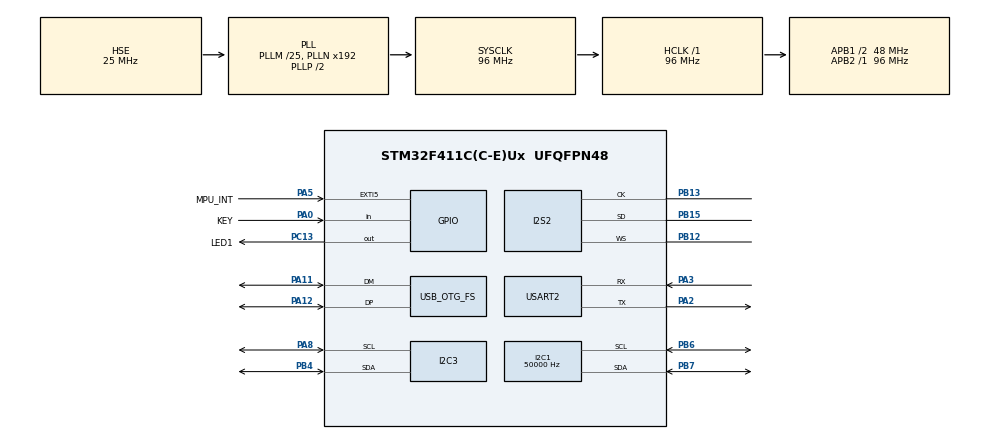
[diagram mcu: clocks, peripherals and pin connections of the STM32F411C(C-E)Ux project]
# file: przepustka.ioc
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ADC1.Channel-0\#ChannelRegularConversion=ADC_CHANNEL_TEMPSENSOR
ADC1.NbrOfConversionFlag=1
ADC1.Rank-0\#ChannelRegularConversion=1
ADC1.SamplingTime-0\#ChannelRegularConversion=ADC_SAMPLETIME_3CYCLES
ADC1.master=1
Dma.I2C3_TX.0.Direction=DMA_MEMORY_TO_PERIPH
Dma.I2C3_TX.0.FIFOMode=DMA_FIFOMODE_DISABLE
Dma.I2C3_TX.0.Instance=DMA1_Stream5
Dma.I2C3_TX.0.MemDataAlignment=DMA_MDATAALIGN_BYTE
Dma.I2C3_TX.0.MemInc=DMA_MINC_ENABLE
Dma.I2C3_TX.0.Mode=DMA_NORMAL
Dma.I2C3_TX.0.PeriphDataAlignment=DMA_PDATAALIGN_BYTE
Dma.I2C3_TX.0.PeriphInc=DMA_PINC_DISABLE
Dma.I2C3_TX.0.Priority=DMA_PRIORITY_LOW
Dma.Request0=I2C3_TX
Dma.Request1=SPI2_RX
Dma.SPI2_RX.1.Direction=DMA_PERIPH_TO_MEMORY
Dma.SPI2_RX.1.FIFOMode=DMA_FIFOMODE_DISABLE
Dma.SPI2_RX.1.Instance=DMA1_Stream3
Dma.SPI2_RX.1.MemDataAlignment=DMA_MDATAALIGN_HALFWORD
Dma.SPI2_RX.1.MemInc=DMA_MINC_ENABLE
Dma.SPI2_RX.1.Mode=DMA_CIRCULAR
Dma.SPI2_RX.1.PeriphDataAlignment=DMA_PDATAALIGN_HALFWORD
Dma.SPI2_RX.1.PeriphInc=DMA_PINC_DISABLE
Dma.SPI2_RX.1.Priority=DMA_PRIORITY_VERY_HIGH
I2C1.ClockSpeed=50000
I2C1.I2C_Mode=I2C_Standard
I2C3.I2C_Mode=I2C_Fast
I2S2.AudioFreq=I2S_AUDIOFREQ_96K
I2S2.DataFormat=I2S_DATAFORMAT_24B
I2S2.ErrorAudioFreq=1.72 %
I2S2.FullDuplexMode=I2S_FULLDUPLEXMODE_DISABLE
I2S2.Instance=SPI$Index
I2S2.Mode=I2S_MODE_MASTER_RX
I2S2.RealAudioFreq=97.656 KHz
I2S2.Standard=I2S_STANDARD_PHILIPS
I2S2.VirtualMode=I2S_MODE_MASTER
Mcu.Family=STM32F4
Mcu.Name=STM32F411C(C-E)Ux
Mcu.Package=UFQFPN48
NVIC.DMA1_Stream3_IRQn=true\:0\:0\:false\:false\:true\:false\:true
NVIC.DMA1_Stream5_IRQn=true\:5\:0\:true\:true\:true\:2\:false\:true
NVIC.EXTI9_5_IRQn=true\:0\:0\:false\:false\:true\:true\:true
NVIC.I2C1_ER_IRQn=true\:0\:0\:false\:false\:true\:true\:true
NVIC.I2C1_EV_IRQn=true\:0\:0\:false\:false\:true\:true\:true
NVIC.I2C3_EV_IRQn=true\:12\:0\:true\:true\:true\:1\:true\:true
NVIC.OTG_FS_IRQn=true\:0\:0\:false\:false\:true\:false\:true
NVIC.PriorityGroup=NVIC_PRIORITYGROUP_4
NVIC.SPI2_IRQn=true\:0\:0\:false\:true\:true\:4\:true\:true
NVIC.TIM2_IRQn=true\:11\:0\:true\:true\:true\:3\:true\:true
PA0-WKUP.GPIO_Label=KEY
PA0-WKUP.GPIO_PuPd=GPIO_PULLUP
PA0-WKUP.Signal=GPIO_Input
PA11.Mode=Device_Only
PA11.Signal=USB_OTG_FS_DM
PA12.Mode=Device_Only
PA12.Signal=USB_OTG_FS_DP
PA13.Mode=Serial_Wire
PA13.Signal=SYS_JTMS-SWDIO
PA14.Mode=Serial_Wire
PA14.Signal=SYS_JTCK-SWCLK
PA2.Mode=Asynchronous
PA2.Signal=USART2_TX
PA3.Mode=Asynchronous
PA3.Signal=USART2_RX
PA5.GPIO_Label=MPU_INT
PA5.GPIO_ModeDefaultEXTI=GPIO_MODE_IT_FALLING
PA5.GPIO_PuPd=GPIO_PULLUP
PA5.Signal=GPXTI5
PA8.Mode=I2C
PA8.Signal=I2C3_SCL
PB12.Mode=Half_Duplex_Master
PB12.Signal=I2S2_WS
PB13.Mode=Half_Duplex_Master
PB13.Signal=I2S2_CK
PB15.Mode=Half_Duplex_Master
PB15.Signal=I2S2_SD
PB4.Mode=I2C
PB4.Signal=I2C3_SDA
PB6.GPIO_Pu=GPIO_NOPULL
PB6.Mode=I2C
PB6.Signal=I2C1_SCL
PB7.GPIO_Pu=GPIO_NOPULL
PB7.Mode=I2C
PB7.Signal=I2C1_SDA
PC13-ANTI_TAMP.GPIO_Label=LED1
PC13-ANTI_TAMP.GPIO_ModeDefaultOutputPP=GPIO_MODE_OUTPUT_PP
PC13-ANTI_TAMP.GPIO_PuPd=GPIO_PULLUP
PC13-ANTI_TAMP.GPIO_Speed=GPIO_SPEED_FREQ_LOW
PC13-ANTI_TAMP.PinState=GPIO_PIN_SET
PC13-ANTI_TAMP.Signal=GPIO_Output
PC14-OSC32_IN.Mode=LSE-External-Oscillator
PC14-OSC32_IN.Signal=RCC_OSC32_IN
PC15-OSC32_OUT.Mode=LSE-External-Oscillator
PC15-OSC32_OUT.Signal=RCC_OSC32_OUT
PH0\ -\ OSC_IN.Mode=HSE-External-Oscillator
PH0\ -\ OSC_IN.Signal=RCC_OSC_IN
PH1\ -\ OSC_OUT.Mode=HSE-External-Oscillator
PH1\ -\ OSC_OUT.Signal=RCC_OSC_OUT
ProjectManager.HeapSize=0x200
ProjectManager.StackSize=0x400
ProjectManager.TargetToolchain=STM32CubeIDE
RCC.48MHZClocksFreq_Value=48000000
RCC.AHBFreq_Value=96000000
RCC.APB1CLKDivider=RCC_HCLK_DIV2
RCC.APB1Freq_Value=48000000
RCC.APB1TimFreq_Value=96000000
RCC.APB2Freq_Value=96000000
RCC.APB2TimFreq_Value=96000000
RCC.CortexFreq_Value=96000000
RCC.HCLKFreq_Value=96000000
RCC.HSE_VALUE=25000000
RCC.HSI_VALUE=16000000
RCC.PLLM=25
RCC.SYSCLKFreq_VALUE=96000000
RCC.SYSCLKSource=RCC_SYSCLKSOURCE_PLLCLK
RCC.VCOOutputFreq_Value=192000000
TIM2.AutoReloadPreload=TIM_AUTORELOAD_PRELOAD_ENABLE
TIM2.CounterMode=TIM_COUNTERMODE_DOWN
TIM2.Period=1000
TIM2.Prescaler=9600
TIM2.TIM_MasterOutputTrigger=TIM_TRGO_UPDATE
USART2.VirtualMode=VM_ASYNC
USB_DEVICE.CLASS_NAME_FS=CDC
USB_DEVICE.PRODUCT_STRING_CDC_FS=Przepustka
USB_DEVICE.VirtualMode=Cdc
USB_DEVICE.VirtualModeFS=Cdc_FS
USB_OTG_FS.VirtualMode=Device_Only
USB_OTG_FS.lpm_enable=DISABLE
VP_ADC1_TempSens_Input.Mode=IN-TempSens
VP_TIM2_VS_ClockSourceINT.Mode=Internal
VP_USB_DEVICE_VS_USB_DEVICE_CDC_FS.Mode=CDC_FS
board=custom

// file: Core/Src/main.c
/* USER CODE BEGIN Header */
/**
  ******************************************************************************
  * @file           : main.c
  * @brief          : Main program body
  ******************************************************************************
  * @attention
  *
  * <h2><center>&copy; Copyright (c) 2021 STMicroelectronics.
  * All rights reserved.</center></h2>
  *
  * This software component is licensed by ST under BSD 3-Clause license,
  * the "License"; You may not use this file except in compliance with the
  * License. You may obtain a copy of the License at:
  *                        opensource.org/licenses/BSD-3-Clause
  *
  ******************************************************************************
  */
/* USER CODE END Header */
#include "main.h"
#include "usb_device.h"

/* USER CODE BEGIN Includes */
#include "sht21.h"
#include "MPU6050.h"
#include "usbd_cdc_if.h"
#include "ssd1306.h"
#include "arm_math.h"
#include "math.h"
/* USER CODE END Includes */

/* USER CODE BEGIN PD */
#define SHT21_ADDRESS 	0b1000000
#define MPU6050_ADDRESS 0b1101000
#define FFT_SAMPLES		1024

/* USER CODE END PD */

ADC_HandleTypeDef hadc1;

I2C_HandleTypeDef hi2c1;
I2C_HandleTypeDef hi2c3;
DMA_HandleTypeDef hdma_i2c3_tx;

I2S_HandleTypeDef hi2s2;
DMA_HandleTypeDef hdma_spi2_rx;

TIM_HandleTypeDef htim2;

UART_HandleTypeDef huart2;

/* USER CODE BEGIN PV */
int Freqs[FFT_SAMPLES];
FFTInBuffer[FFT_SAMPLES];
FFTOutBuffer[FFT_SAMPLES];
//arm_rfft_fast_instance_f32 FFTHandler;
arm_rfft_fast_instance_f32	FFTHandler;
volatile uint8_t	SamplesReady;
uint8_t	OutFreqArray[10];

SHT21_t Sht21;
MPU6050_t Mpu6050;
double Ax,Ay,Az,Gx,Gy,Gz,Temperature_MPU;
SSD1306_t oled;
volatile uint16_t data_in[4096]={0};
uint32_t  time,time1,time2,time3,time4,time5,counter,counter2;
volatile int32_t audio1[1024],audio2;
uint8_t DataToSend[80]; // USB VCOM buffer
uint8_t MessageLength = 0; // USB VCOM data length
float temperature;
float humidity;
/* USER CODE END PV */

void SystemClock_Config(void);
static void MX_GPIO_Init(void);
static void MX_I2S2_Init(void);
static void MX_I2C1_Init(void);
static void MX_USART2_UART_Init(void);
static void MX_DMA_Init(void);
static void MX_I2C3_Init(void);
static void MX_TIM2_Init(void);
static void MX_ADC1_Init(void);
static void MX_NVIC_Init(void);
/* USER CODE BEGIN PFP */
void HAL_I2C_MemTxCpltCallback(I2C_HandleTypeDef *hi2c);
/* USER CODE END PFP */

int main(void)
{

  /* MCU Configuration--------------------------------------------------------*/

  /* Reset of all peripherals, Initializes the Flash interface and the Systick. */
  HAL_Init();

  /* Configure the system clock */
  SystemClock_Config();

  /* Initialize all configured peripherals */
  MX_GPIO_Init();
  MX_I2S2_Init();
  MX_I2C1_Init();
  MX_USB_DEVICE_Init();
  MX_USART2_UART_Init();
  MX_DMA_Init();
  MX_I2C3_Init();
  MX_TIM2_Init();
  MX_ADC1_Init();

  /* Initialize interrupts */
  MX_NVIC_Init();
  /* USER CODE BEGIN 2 */

  //HAL_I2S_Receive_DMA(&hi2s2, &data_in, 4);
  hi2c3.Init.ClockSpeed=800000;  			// OVERCLOCKING, code generator does not allow higher than 400kHz
  HAL_I2C_Init(&hi2c3);
  HAL_Delay(50);
  ssd1306_Init(&oled,&hi2c3,SSD1306_I2C_ADDR);
  MPU6050_Init(&Mpu6050,&hi2c1,MPU6050_ADDRESS);
  HAL_Delay(10);
  //SHT21_Init(&Sht21, &hi2c1, SHT21_ADDRESS);
  HAL_Delay(10);
  ssd1306_Fill(Black);
  HAL_DMA_Init(&hdma_spi2_rx);
  	  ssd1306_UpdateScreen(&oled);
  	 //HAL_I2S_Receive(&hi2s2, &data_in, 128,1000);
  	 HAL_I2S_Receive_DMA(&hi2s2, &data_in, 2048);

  	// HAL_TIM_Base_Start_IT(&htim2);

  	////////////////////////////////// TEMPORARY I2S SUPPORT
  	arm_rfft_fast_init_f32(&FFTHandler,1024);

  //	HAL_I2S_DMAResume(&hi2s2);
  	//////////////////////////////////////////////////////////
  /* USER CODE END 2 */

  /* Infinite loop */
  /* USER CODE BEGIN WHILE */
  while (1)
  { // HAL_I2S_Receive_IT(&hi2s2, data_in, 64);

	  if(SamplesReady==1)
	  { HAL_GPIO_TogglePin(LED1_GPIO_Port,LED1_Pin);
		  SamplesReady=0;
		  for(uint32_t i=0; i<FFT_SAMPLES*16;i++)
		  {
			  FFTInBuffer[i]=(float)audio1[i];
			 // FFTInBuffer[i]=(float)16000*sinf(0.23 *i);
		  }
		  CalculateFFT();
	  }
	  FullscreenFFT();
	 // HAL_Delay(300);
//	  HAL_ADC_GetValue(&hadc1);
//	  MPU6050_Read_Values(&Mpu6050);
//	  SHT21_Update_calculated_value(&Sht21);
//
//
//	  Ax=Mpu6050.Accel_raw_X/ 16384.0;
//	  Ay=Mpu6050.Accel_raw_Y/ 16384.0;
//	  Az=Mpu6050.Accel_raw_Z/ 16384.0;
//	  Gx=Mpu6050.Gyro_raw_X/ 131.0;
//	  Gy=Mpu6050.Gyro_raw_Y/ 131.0;
//	  Gz=Mpu6050.Gyro_raw_Z/ 131.0;
//	  Temperature_MPU= (float)((int16_t)Mpu6050.Temp / (float)340.0 + (float)36.53);

	 //TUTAJ RYSOWANIE EKRANU
	  //void SHT_MPU_Debug();

    /* USER CODE END WHILE */

  }
}

void SystemClock_Config(void)
{
  RCC_OscInitTypeDef RCC_OscInitStruct = {0};
  RCC_ClkInitTypeDef RCC_ClkInitStruct = {0};

  /** Configure the main internal regulator output voltage
  */
  __HAL_RCC_PWR_CLK_ENABLE();
  __HAL_PWR_VOLTAGESCALING_CONFIG(PWR_REGULATOR_VOLTAGE_SCALE1);
  /** Initializes the RCC Oscillators according to the specified parameters
  * in the RCC_OscInitTypeDef structure.
  */
  RCC_OscInitStruct.OscillatorType = RCC_OSCILLATORTYPE_HSE;
  RCC_OscInitStruct.HSEState = RCC_HSE_ON;
  RCC_OscInitStruct.PLL.PLLState = RCC_PLL_ON;
  RCC_OscInitStruct.PLL.PLLSource = RCC_PLLSOURCE_HSE;
  RCC_OscInitStruct.PLL.PLLM = 25;
  RCC_OscInitStruct.PLL.PLLN = 192;
  RCC_OscInitStruct.PLL.PLLP = RCC_PLLP_DIV2;
  RCC_OscInitStruct.PLL.PLLQ = 4;
  if (HAL_RCC_OscConfig(&RCC_OscInitStruct) != HAL_OK)
  {
    Error_Handler();
  }
  /** Initializes the CPU, AHB and APB buses clocks
  */
  RCC_ClkInitStruct.ClockType = RCC_CLOCKTYPE_HCLK|RCC_CLOCKTYPE_SYSCLK
                              |RCC_CLOCKTYPE_PCLK1|RCC_CLOCKTYPE_PCLK2;
  RCC_ClkInitStruct.SYSCLKSource = RCC_SYSCLKSOURCE_PLLCLK;
  RCC_ClkInitStruct.AHBCLKDivider = RCC_SYSCLK_DIV1;
  RCC_ClkInitStruct.APB1CLKDivider = RCC_HCLK_DIV2;
  RCC_ClkInitStruct.APB2CLKDivider = RCC_HCLK_DIV1;

  if (HAL_RCC_ClockConfig(&RCC_ClkInitStruct, FLASH_LATENCY_3) != HAL_OK)
  {
    Error_Handler();
  }
}

/**
  * @brief NVIC Configuration.
  * @retval None
  */
static void MX_NVIC_Init(void)
{
  /* I2C3_EV_IRQn interrupt configuration */
  HAL_NVIC_SetPriority(I2C3_EV_IRQn, 12, 0);
  HAL_NVIC_EnableIRQ(I2C3_EV_IRQn);
  /* DMA1_Stream5_IRQn interrupt configuration */
  HAL_NVIC_SetPriority(DMA1_Stream5_IRQn, 5, 0);
  HAL_NVIC_EnableIRQ(DMA1_Stream5_IRQn);
  /* TIM2_IRQn interrupt configuration */
  HAL_NVIC_SetPriority(TIM2_IRQn, 11, 0);
  HAL_NVIC_EnableIRQ(TIM2_IRQn);
  /* SPI2_IRQn interrupt configuration */
  HAL_NVIC_SetPriority(SPI2_IRQn, 0, 0);
  HAL_NVIC_EnableIRQ(SPI2_IRQn);
}

static void MX_ADC1_Init(void)
{

  ADC_ChannelConfTypeDef sConfig = {0};

  /** Configure the global features of the ADC (Clock, Resolution, Data Alignment and number of conversion)
  */
  hadc1.Instance = ADC1;
  hadc1.Init.ClockPrescaler = ADC_CLOCK_SYNC_PCLK_DIV4;
  hadc1.Init.Resolution = ADC_RESOLUTION_12B;
  hadc1.Init.ScanConvMode = DISABLE;
  hadc1.Init.ContinuousConvMode = DISABLE;
  hadc1.Init.DiscontinuousConvMode = DISABLE;
  hadc1.Init.ExternalTrigConvEdge = ADC_EXTERNALTRIGCONVEDGE_NONE;
  hadc1.Init.ExternalTrigConv = ADC_SOFTWARE_START;
  hadc1.Init.DataAlign = ADC_DATAALIGN_RIGHT;
  hadc1.Init.NbrOfConversion = 1;
  hadc1.Init.DMAContinuousRequests = DISABLE;
  hadc1.Init.EOCSelection = ADC_EOC_SINGLE_CONV;
  if (HAL_ADC_Init(&hadc1) != HAL_OK)
  {
    Error_Handler();
  }
  /** Configure for the selected ADC regular channel its corresponding rank in the sequencer and its sample time.
  */
  sConfig.Channel = ADC_CHANNEL_TEMPSENSOR;
  sConfig.Rank = 1;
  sConfig.SamplingTime = ADC_SAMPLETIME_3CYCLES;
  if (HAL_ADC_ConfigChannel(&hadc1, &sConfig) != HAL_OK)
  {
    Error_Handler();
  }

}

static void MX_I2C1_Init(void)
{

  hi2c1.Instance = I2C1;
  hi2c1.Init.ClockSpeed = 50000;
  hi2c1.Init.DutyCycle = I2C_DUTYCYCLE_2;
  hi2c1.Init.OwnAddress1 = 0;
  hi2c1.Init.AddressingMode = I2C_ADDRESSINGMODE_7BIT;
  hi2c1.Init.DualAddressMode = I2C_DUALADDRESS_DISABLE;
  hi2c1.Init.OwnAddress2 = 0;
  hi2c1.Init.GeneralCallMode = I2C_GENERALCALL_DISABLE;
  hi2c1.Init.NoStretchMode = I2C_NOSTRETCH_DISABLE;
  if (HAL_I2C_Init(&hi2c1) != HAL_OK)
  {
    Error_Handler();
  }

}

static void MX_I2C3_Init(void)
{

  hi2c3.Instance = I2C3;
  hi2c3.Init.ClockSpeed = 400000;
  hi2c3.Init.DutyCycle = I2C_DUTYCYCLE_2;
  hi2c3.Init.OwnAddress1 = 0;
  hi2c3.Init.AddressingMode = I2C_ADDRESSINGMODE_7BIT;
  hi2c3.Init.DualAddressMode = I2C_DUALADDRESS_DISABLE;
  hi2c3.Init.OwnAddress2 = 0;
  hi2c3.Init.GeneralCallMode = I2C_GENERALCALL_DISABLE;
  hi2c3.Init.NoStretchMode = I2C_NOSTRETCH_DISABLE;
  if (HAL_I2C_Init(&hi2c3) != HAL_OK)
  {
    Error_Handler();
  }

}

static void MX_I2S2_Init(void)
{

  hi2s2.Instance = SPI2;
  hi2s2.Init.Mode = I2S_MODE_MASTER_RX;
  hi2s2.Init.Standard = I2S_STANDARD_PHILIPS;
  hi2s2.Init.DataFormat = I2S_DATAFORMAT_24B;
  hi2s2.Init.MCLKOutput = I2S_MCLKOUTPUT_DISABLE;
  hi2s2.Init.AudioFreq = I2S_AUDIOFREQ_96K;
  hi2s2.Init.CPOL = I2S_CPOL_LOW;
  hi2s2.Init.ClockSource = I2S_CLOCK_PLL;
  hi2s2.Init.FullDuplexMode = I2S_FULLDUPLEXMODE_DISABLE;
  if (HAL_I2S_Init(&hi2s2) != HAL_OK)
  {
    Error_Handler();
  }

}

static void MX_TIM2_Init(void)
{

  TIM_ClockConfigTypeDef sClockSourceConfig = {0};
  TIM_MasterConfigTypeDef sMasterConfig = {0};

  htim2.Instance = TIM2;
  htim2.Init.Prescaler = 9600;
  htim2.Init.CounterMode = TIM_COUNTERMODE_DOWN;
  htim2.Init.Period = 1000;
  htim2.Init.ClockDivision = TIM_CLOCKDIVISION_DIV1;
  htim2.Init.AutoReloadPreload = TIM_AUTORELOAD_PRELOAD_ENABLE;
  if (HAL_TIM_Base_Init(&htim2) != HAL_OK)
  {
    Error_Handler();
  }
  sClockSourceConfig.ClockSource = TIM_CLOCKSOURCE_INTERNAL;
  if (HAL_TIM_ConfigClockSource(&htim2, &sClockSourceConfig) != HAL_OK)
  {
    Error_Handler();
  }
  sMasterConfig.MasterOutputTrigger = TIM_TRGO_UPDATE;
  sMasterConfig.MasterSlaveMode = TIM_MASTERSLAVEMODE_DISABLE;
  if (HAL_TIMEx_MasterConfigSynchronization(&htim2, &sMasterConfig) != HAL_OK)
  {
    Error_Handler();
  }

}

static void MX_USART2_UART_Init(void)
{

  huart2.Instance = USART2;
  huart2.Init.BaudRate = 115200;
  huart2.Init.WordLength = UART_WORDLENGTH_8B;
  huart2.Init.StopBits = UART_STOPBITS_1;
  huart2.Init.Parity = UART_PARITY_NONE;
  huart2.Init.Mode = UART_MODE_TX_RX;
  huart2.Init.HwFlowCtl = UART_HWCONTROL_NONE;
  huart2.Init.OverSampling = UART_OVERSAMPLING_16;
  if (HAL_UART_Init(&huart2) != HAL_OK)
  {
    Error_Handler();
  }

}

static void MX_DMA_Init(void)
{

  /* DMA controller clock enable */
  __HAL_RCC_DMA1_CLK_ENABLE();

  /* DMA interrupt init */
  /* DMA1_Stream3_IRQn interrupt configuration */
  HAL_NVIC_SetPriority(DMA1_Stream3_IRQn, 0, 0);
  HAL_NVIC_EnableIRQ(DMA1_Stream3_IRQn);

}

static void MX_GPIO_Init(void)
{
  GPIO_InitTypeDef GPIO_InitStruct = {0};

  /* GPIO Ports Clock Enable */
  __HAL_RCC_GPIOC_CLK_ENABLE();
  __HAL_RCC_GPIOH_CLK_ENABLE();
  __HAL_RCC_GPIOA_CLK_ENABLE();
  __HAL_RCC_GPIOB_CLK_ENABLE();

  /*Configure GPIO pin Output Level */
  HAL_GPIO_WritePin(LED1_GPIO_Port, LED1_Pin, GPIO_PIN_SET);

  /*Configure GPIO pin : LED1_Pin */
  GPIO_InitStruct.Pin = LED1_Pin;
  GPIO_InitStruct.Mode = GPIO_MODE_OUTPUT_PP;
  GPIO_InitStruct.Pull = GPIO_PULLUP;
  GPIO_InitStruct.Speed = GPIO_SPEED_FREQ_LOW;
  HAL_GPIO_Init(LED1_GPIO_Port, &GPIO_InitStruct);

  /*Configure GPIO pin : KEY_Pin */
  GPIO_InitStruct.Pin = KEY_Pin;
  GPIO_InitStruct.Mode = GPIO_MODE_INPUT;
  GPIO_InitStruct.Pull = GPIO_PULLUP;
  HAL_GPIO_Init(KEY_GPIO_Port, &GPIO_InitStruct);

  /*Configure GPIO pin : MPU_INT_Pin */
  GPIO_InitStruct.Pin = MPU_INT_Pin;
  GPIO_InitStruct.Mode = GPIO_MODE_IT_FALLING;
  GPIO_InitStruct.Pull = GPIO_PULLUP;
  HAL_GPIO_Init(MPU_INT_GPIO_Port, &GPIO_InitStruct);

  /* EXTI interrupt init*/
  HAL_NVIC_SetPriority(EXTI9_5_IRQn, 0, 0);
  HAL_NVIC_EnableIRQ(EXTI9_5_IRQn);

}

/* USER CODE BEGIN 4 */
void HAL_I2C_MemTxCpltCallback(I2C_HandleTypeDef *hi2c)
{
	if (hi2c==oled.oled_i2c)
	{
//		ssd1306_DrawPixel(127,counter%64,Black);
//		 counter++;
//		ssd1306_DrawPixel(127,counter%64,White);

	ssd1306_UpdateScreen(&oled);
	//if (htim ==&htim3)

	}

}

void HAL_I2S_RxCpltCallback(I2S_HandleTypeDef *hi2s)
{
	{HAL_StatusTypeDef result;
			uint16_t i;
			counter++;
		for(i=0;i<1024;i++)
		{
			audio1[i]=(int)(data_in[4*i]<<16|data_in[4*i+1]);
			///audio1[i]=(data_in[4*i]);
		}
		SamplesReady=1;
		}
}

 void HAL_I2C_ErrorCallback(I2C_HandleTypeDef *hi2c)
{
	//
}

void HAL_TIM_PeriodElapsedCallback(TIM_HandleTypeDef *htim)
{
	if (htim == &htim2)
	{
		//ssd1306_UpdateScreen(&oled);

	  SHT21_Read_Raw_Value(&Sht21);
	if (Sht21.Last_measurement==SHT_LAST_MEAS_RH) //1 - temperature ; 2 - relative humidity
	{
		SHT21_Measure_T(&Sht21,0);
	}
	else
	{
		SHT21_Measure_RH(&Sht21,0);
	}
///////////////////////////////////

/////////////////////////////////////////////////////////////////////////
	}

}

void HAL_I2SEx_TxRxCpltCallback(I2S_HandleTypeDef *hi2s)
{

}

float complexABS(float real, float compl) {
	return sqrtf(real*real+compl*compl);
}

void CalculateFFT(void)
{

	//arm_rfft_f32(&FFTHandler,FFTInBuffer,FFTOutBuffer);

	arm_rfft_fast_f32(&FFTHandler,FFTInBuffer,FFTOutBuffer,0);
		for(uint32_t i=0; i<FFT_SAMPLES;i++)
					  {
						  FFTOutBuffer[i]=FFTInBuffer[i];
					  }

	int FreqPoint=0;
	int Offset = 45;

	for(int i=0;i<FFT_SAMPLES;i=i+2)
	{
		Freqs[FreqPoint]= (int)(20*log10f(complexABS(FFTInBuffer[i],FFTInBuffer[i+1])))-Offset;

		if (Freqs[FreqPoint]<0)
		{
			Freqs[FreqPoint]=0;
		}
		FreqPoint++;
	}
}

void SHT_MPU_Debug()
{
	 MessageLength = sprintf(DataToSend, "RH:%2.2f|T:%+2.2f", Sht21.humidity, Sht21.temperature);
		  ssd1306_SetCursor(0,0);
		  ssd1306_WriteString(DataToSend,Font_6x8,White);
		  MessageLength = sprintf(DataToSend, "X:%+1.2f  Gx:%+-8.1f  ", Ax,Gx);
		  ssd1306_SetCursor(0,8);
		  ssd1306_WriteString(DataToSend,Font_6x8,White);
		  MessageLength = sprintf(DataToSend, "Y:%+1.2f  Gy:%+-8.1f", Ay,Gy);
		  ssd1306_SetCursor(0,16);
		  ssd1306_WriteString(DataToSend,Font_6x8,White);
		  MessageLength = sprintf(DataToSend, "Z:%+1.2f  Gz:%-8.1f", Az,Gz);
		  ssd1306_SetCursor(0,24);
		  ssd1306_WriteString(DataToSend,Font_6x8,White);
		  MessageLength = sprintf(DataToSend, "SHT:%-4ims",time2);
		  ssd1306_SetCursor(0,32);
		  ssd1306_WriteString(DataToSend,Font_6x8,White);
		  MessageLength = sprintf(DataToSend, "MPU:%-5ims",time4);
	 	  ssd1306_SetCursor(0,40);
	  	  ssd1306_WriteString(DataToSend,Font_6x8,White);
	  	  MessageLength = sprintf(DataToSend, "Cnt:%12i",counter);
	  	  ssd1306_SetCursor(0,48);
	  	  ssd1306_WriteString(DataToSend,Font_6x8,White);
	  	  MessageLength = sprintf(DataToSend, "FPS:%-3i ",  1000/time);
//		  MessageLength = sprintf(DataToSend, "Cnt:%12i",audio1[1]);
	  	  ssd1306_SetCursor(0,56);
	  	  ssd1306_WriteString(DataToSend,Font_6x8,White);
}

void FullscreenFFT()
{	int i=0;
	HAL_GPIO_TogglePin(LED1_GPIO_Port,LED1_Pin);
	ssd1306_Fill(Black);
	for (i=0;i<128;i++)
	{
	//ssd1306_DrawPixel(i,63-((Freqs[i*4]/2)),White);				//f(f)
		ssd1306_DrawPixel(i,(audio1[i]/50000)/2+32,White);  //f(t)

	}
}
/* USER CODE END 4 */

void Error_Handler(void)
{
}

/************************ (C) COPYRIGHT STMicroelectronics *****END OF FILE****/
